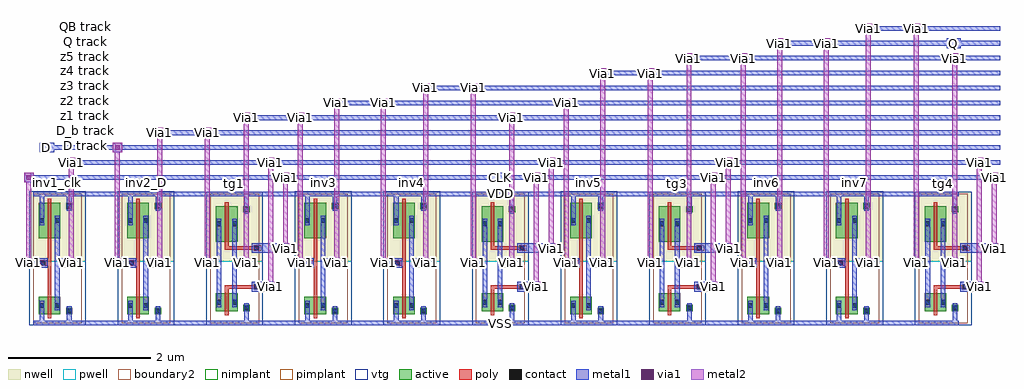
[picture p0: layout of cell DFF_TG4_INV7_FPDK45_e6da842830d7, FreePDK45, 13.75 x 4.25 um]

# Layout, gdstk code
import gdstk
lib = gdstk.Library(unit=1e-6, precision=5e-10)
def R(c, l, rs):  # rectangles x0, y0, x1, y1
    for r in rs: c.add(gdstk.rectangle(r[:2], r[2:], *l))
def A(c, l, x, y, w, h, nx, ny, dx, dy):  # array of equal rectangles
    R(c, l, [(x+i*dx, y+j*dy, x+i*dx+w, y+j*dy+h) for i in range(nx) for j in range(ny)])
active = (1, 0)
pwell = (2, 0)
nwell = (3, 0)
nimplant = (4, 0)
pimplant = (5, 0)
vtg = (6, 0)
poly = (9, 0)
contact = (10, 0)
metal1 = (11, 0)
via1 = (12, 0)
metal2 = (13, 0)
boundary2 = (239, 0)

compose_child__pinv_nw25 = lib.new_cell('COMPOSE_CHILD__PINV_NW250_PW500_L50__PINV_NW250_PW500_L50__TRANSMISSION_GATE_NW250_PW500_L50_contact_8')
R(compose_child__pinv_nw25, active, [(0,0.0225,0.09,0.1125)])
R(compose_child__pinv_nw25, nwell, [(-0.055,-0.0325,0.145,0.1675)])
R(compose_child__pinv_nw25, pimplant, [(0,0.0225,0.09,0.1125)])
R(compose_child__pinv_nw25, contact, [(0.0125,0.035,0.0775,0.1)])
R(compose_child__pinv_nw25, metal1, [(0.0125,0,0.0775,0.135)])
R(compose_child__pinv_nw25, boundary2, [(-0.055,-0.0325,0.145,0.1675)])

c_compose_child__pinv_nw25 = lib.new_cell('COMPOSE_CHILD__PINV_NW250_PW500_L50__PINV_NW250_PW500_L50__PINV_NW250_PW500_L50_pmos_m1_w0_500_sm1_dm1_da_p')
R(c_compose_child__pinv_nw25, active, [(0,0,0.305,0.5)])
R(c_compose_child__pinv_nw25, nwell, [(-0.08,-0.08,0.385,0.58)])
R(c_compose_child__pinv_nw25, pimplant, [(0,0,0.305,0.5)])
R(c_compose_child__pinv_nw25, vtg, [(-0.08,-0.08,0.385,0.58)])
R(c_compose_child__pinv_nw25, poly, [(0.1275,-0.055,0.1775,0.555), (0.1275,-0.055,0.1775,0.555)])
R(c_compose_child__pinv_nw25, metal1, [(0.0125,0.1825,0.0775,0.3175), (0.2275,0.1825,0.2925,0.3175)])
R(c_compose_child__pinv_nw25, boundary2, [(-0.08,-0.08,0.385,0.58)])
c_compose_child__pinv_nw25.add(gdstk.Reference(compose_child__pinv_nw25, (0,0.1825)))
c_compose_child__pinv_nw25.add(gdstk.Reference(compose_child__pinv_nw25, (0.215,0.1825)))

c_compose_child__pinv_nw25_ = lib.new_cell('COMPOSE_CHILD__PINV_NW250_PW500_L50__PINV_NW250_PW500_L50__TRANSMISSION_GATE_NW250_PW500_L50_contact_7')
R(c_compose_child__pinv_nw25_, active, [(0,0.0225,0.09,0.1125)])
R(c_compose_child__pinv_nw25_, pwell, [(-0.055,-0.0325,0.145,0.1675)])
R(c_compose_child__pinv_nw25_, nimplant, [(0,0.0225,0.09,0.1125)])
R(c_compose_child__pinv_nw25_, contact, [(0.0125,0.035,0.0775,0.1)])
R(c_compose_child__pinv_nw25_, metal1, [(0.0125,0,0.0775,0.135)])
R(c_compose_child__pinv_nw25_, boundary2, [(-0.055,-0.0325,0.145,0.1675)])

c_compose_child__pinv_nw25__ = lib.new_cell('COMPOSE_CHILD__PINV_NW250_PW500_L50__PINV_NW250_PW500_L50__PINV_NW250_PW500_L50_nmos_m1_w0_250_sm1_dm1_da_p')
R(c_compose_child__pinv_nw25__, active, [(0,0,0.305,0.25)])
R(c_compose_child__pinv_nw25__, pwell, [(-0.08,-0.08,0.385,0.33)])
R(c_compose_child__pinv_nw25__, nimplant, [(0,0,0.305,0.25)])
R(c_compose_child__pinv_nw25__, vtg, [(-0.08,-0.08,0.385,0.33)])
R(c_compose_child__pinv_nw25__, poly, [(0.1275,-0.055,0.1775,0.305), (0.1275,-0.055,0.1775,0.305)])
R(c_compose_child__pinv_nw25__, metal1, [(0.0125,0.0575,0.0775,0.1925), (0.2275,0.0575,0.2925,0.1925)])
R(c_compose_child__pinv_nw25__, boundary2, [(-0.08,-0.08,0.385,0.33)])
c_compose_child__pinv_nw25__.add(gdstk.Reference(c_compose_child__pinv_nw25_, (0,0.0575)))
c_compose_child__pinv_nw25__.add(gdstk.Reference(c_compose_child__pinv_nw25_, (0.215,0.0575)))

c_compose_child__pinv_nw25___ = lib.new_cell('COMPOSE_CHILD__PINV_NW250_PW500_L50__PINV_NW250_PW500_L50__TRANSMISSION_GATE_NW250_PW500_L50_contact_9')
R(c_compose_child__pinv_nw25___, active, [(0,0.0225,0.09,0.1125)])
R(c_compose_child__pinv_nw25___, nwell, [(-0.055,-0.0325,0.145,0.1675)])
R(c_compose_child__pinv_nw25___, nimplant, [(0,0.0225,0.09,0.1125)])
R(c_compose_child__pinv_nw25___, contact, [(0.0125,0.035,0.0775,0.1)])
R(c_compose_child__pinv_nw25___, metal1, [(0.0125,0,0.0775,0.135)])
R(c_compose_child__pinv_nw25___, boundary2, [(-0.055,-0.0325,0.145,0.1675)])

c_compose_child__pinv_nw25____ = lib.new_cell('COMPOSE_CHILD__PINV_NW250_PW500_L50__PINV_NW250_PW500_L50__TRANSMISSION_GATE_NW250_PW500_L50_contact_10')
R(c_compose_child__pinv_nw25____, active, [(0,0.0225,0.09,0.1125)])
R(c_compose_child__pinv_nw25____, pwell, [(-0.055,-0.0325,0.145,0.1675)])
R(c_compose_child__pinv_nw25____, pimplant, [(0,0.0225,0.09,0.1125)])
R(c_compose_child__pinv_nw25____, contact, [(0.0125,0.035,0.0775,0.1)])
R(c_compose_child__pinv_nw25____, metal1, [(0.0125,0,0.0775,0.135)])
R(c_compose_child__pinv_nw25____, boundary2, [(-0.055,-0.0325,0.145,0.1675)])

c_compose_child__pinv_nw25_____ = lib.new_cell('COMPOSE_CHILD__PINV_NW250_PW500_L50__PINV_NW250_PW500_L50__PINV_NW180_PW270_L50_contact_11')
R(c_compose_child__pinv_nw25_____, poly, [(0.03,0,0.105,0.075)])
R(c_compose_child__pinv_nw25_____, contact, [(0.035,0.005,0.1,0.07)])
R(c_compose_child__pinv_nw25_____, metal1, [(0,0.005,0.135,0.07)])
R(c_compose_child__pinv_nw25_____, boundary2, [(0,0,0.135,0.075)])

c_compose_child__pinv_nw25______ = lib.new_cell('COMPOSE_CHILD__PINV_NW250_PW500_L50__PINV_NW250_PW500_L50__PINV_NW250_PW500_L50_core')
R(c_compose_child__pinv_nw25______, pwell, [(-0.055,-0.0325,0.7425,0.8725)])
R(c_compose_child__pinv_nw25______, nwell, [(-0.055,0.8725,0.7425,1.855)])
R(c_compose_child__pinv_nw25______, vtg, [(-0.055,-0.0325,0.7425,0.8725), (-0.055,0.8725,0.7425,1.855)])
R(c_compose_child__pinv_nw25______, poly, [(0.2075,0.43,0.2575,1.14), (0.14,0.81,0.2075,0.885)])
R(c_compose_child__pinv_nw25______, metal1, [(0,-0.0325,0.6875,0.0325), (0.0925,-0.0325,0.1575,0.1825), (0.4775,0,0.5425,0.17), (0.3075,0.1825,0.3725,1.5125), (0.0725,0.815,0.2075,0.88), (0.34,0.815,0.405,0.88), (0.0925,1.3775,0.1575,1.8525), (0.4775,1.65,0.5425,1.82), (0,1.7875,0.6875,1.8525)])
R(c_compose_child__pinv_nw25______, boundary2, [(0,0,0.6875,1.82), (0,0,0.6875,1.82)])
c_compose_child__pinv_nw25______.add(gdstk.Reference(c_compose_child__pinv_nw25, (0.08,1.195)))
c_compose_child__pinv_nw25______.add(gdstk.Reference(c_compose_child__pinv_nw25__, (0.08,0.125)))
c_compose_child__pinv_nw25______.add(gdstk.Reference(c_compose_child__pinv_nw25___, (0.465,1.5825)))
c_compose_child__pinv_nw25______.add(gdstk.Reference(c_compose_child__pinv_nw25____, (0.465,0.1025)))
c_compose_child__pinv_nw25______.add(gdstk.Reference(c_compose_child__pinv_nw25_____, (0.0725,0.81)))

c_compose_child__pinv_nw25_______ = lib.new_cell('COMPOSE_CHILD__PINV_NW250_PW500_L50__PINV_NW250_PW500_L50__PINV_NW250_PW500_L50')
R(c_compose_child__pinv_nw25_______, metal1, [(0,-0.0325,0.6875,0.0325), (0.0725,0.815,0.2075,0.88), (0.34,0.815,0.405,0.88), (0,1.7875,0.6875,1.8525)])
R(c_compose_child__pinv_nw25_______, boundary2, [(0,0,0.6875,1.82)])
c_compose_child__pinv_nw25_______.add(gdstk.Reference(c_compose_child__pinv_nw25______, (0,0)))

compose_child__transmiss = lib.new_cell('COMPOSE_CHILD__TRANSMISSION_GATE_NW250_PW500_L50__TRANSMISSION_GATE_NW250_PW500_L50__TRANSMISSION_GATE_NW250_PW500_L50_contact_8')
R(compose_child__transmiss, active, [(0,0.0225,0.09,0.1125)])
R(compose_child__transmiss, nwell, [(-0.055,-0.0325,0.145,0.1675)])
R(compose_child__transmiss, pimplant, [(0,0.0225,0.09,0.1125)])
R(compose_child__transmiss, contact, [(0.0125,0.035,0.0775,0.1)])
R(compose_child__transmiss, metal1, [(0.0125,0,0.0775,0.135)])
R(compose_child__transmiss, boundary2, [(-0.055,-0.0325,0.145,0.1675)])

c_compose_child__transmiss = lib.new_cell('COMPOSE_CHILD__TRANSMISSION_GATE_NW250_PW500_L50__TRANSMISSION_GATE_NW250_PW500_L50__TRANSMISSION_GATE_NW250_PW500_L50_pmos_m1_w0_500_sm1_dm1')
R(c_compose_child__transmiss, active, [(0,0,0.305,0.5)])
R(c_compose_child__transmiss, nwell, [(-0.08,-0.08,0.385,0.58)])
R(c_compose_child__transmiss, pimplant, [(0,0,0.305,0.5)])
R(c_compose_child__transmiss, vtg, [(-0.08,-0.08,0.385,0.58)])
R(c_compose_child__transmiss, poly, [(0.1275,-0.055,0.1775,0.555), (0.1275,-0.055,0.1775,0.555)])
R(c_compose_child__transmiss, metal1, [(0.0125,0.1825,0.0775,0.3175), (0.2275,0.1825,0.2925,0.3175)])
R(c_compose_child__transmiss, boundary2, [(-0.08,-0.08,0.385,0.58)])
c_compose_child__transmiss.add(gdstk.Reference(compose_child__transmiss, (0,0.1825)))
c_compose_child__transmiss.add(gdstk.Reference(compose_child__transmiss, (0.215,0.1825)))

c_compose_child__transmiss_ = lib.new_cell('COMPOSE_CHILD__TRANSMISSION_GATE_NW250_PW500_L50__TRANSMISSION_GATE_NW250_PW500_L50__TRANSMISSION_GATE_NW250_PW500_L50_contact_7')
R(c_compose_child__transmiss_, active, [(0,0.0225,0.09,0.1125)])
R(c_compose_child__transmiss_, pwell, [(-0.055,-0.0325,0.145,0.1675)])
R(c_compose_child__transmiss_, nimplant, [(0,0.0225,0.09,0.1125)])
R(c_compose_child__transmiss_, contact, [(0.0125,0.035,0.0775,0.1)])
R(c_compose_child__transmiss_, metal1, [(0.0125,0,0.0775,0.135)])
R(c_compose_child__transmiss_, boundary2, [(-0.055,-0.0325,0.145,0.1675)])

c_compose_child__transmiss__ = lib.new_cell('COMPOSE_CHILD__TRANSMISSION_GATE_NW250_PW500_L50__TRANSMISSION_GATE_NW250_PW500_L50__TRANSMISSION_GATE_NW250_PW500_L50_nmos_m1_w0_250_sm1_dm1')
R(c_compose_child__transmiss__, active, [(0,0,0.305,0.25)])
R(c_compose_child__transmiss__, pwell, [(-0.08,-0.08,0.385,0.33)])
R(c_compose_child__transmiss__, nimplant, [(0,0,0.305,0.25)])
R(c_compose_child__transmiss__, vtg, [(-0.08,-0.08,0.385,0.33)])
R(c_compose_child__transmiss__, poly, [(0.1275,-0.055,0.1775,0.305), (0.1275,-0.055,0.1775,0.305)])
R(c_compose_child__transmiss__, metal1, [(0.0125,0.0575,0.0775,0.1925), (0.2275,0.0575,0.2925,0.1925)])
R(c_compose_child__transmiss__, boundary2, [(-0.08,-0.08,0.385,0.33)])
c_compose_child__transmiss__.add(gdstk.Reference(c_compose_child__transmiss_, (0,0.0575)))
c_compose_child__transmiss__.add(gdstk.Reference(c_compose_child__transmiss_, (0.215,0.0575)))

c_compose_child__transmiss___ = lib.new_cell('COMPOSE_CHILD__TRANSMISSION_GATE_NW250_PW500_L50__TRANSMISSION_GATE_NW250_PW500_L50__TRANSMISSION_GATE_NW250_PW500_L50_contact_9')
R(c_compose_child__transmiss___, active, [(0,0.0225,0.09,0.1125)])
R(c_compose_child__transmiss___, nwell, [(-0.055,-0.0325,0.145,0.1675)])
R(c_compose_child__transmiss___, nimplant, [(0,0.0225,0.09,0.1125)])
R(c_compose_child__transmiss___, contact, [(0.0125,0.035,0.0775,0.1)])
R(c_compose_child__transmiss___, metal1, [(0.0125,0,0.0775,0.135)])
R(c_compose_child__transmiss___, boundary2, [(-0.055,-0.0325,0.145,0.1675)])

c_compose_child__transmiss____ = lib.new_cell('COMPOSE_CHILD__TRANSMISSION_GATE_NW250_PW500_L50__TRANSMISSION_GATE_NW250_PW500_L50__TRANSMISSION_GATE_NW250_PW500_L50_contact_10')
R(c_compose_child__transmiss____, active, [(0,0.0225,0.09,0.1125)])
R(c_compose_child__transmiss____, pwell, [(-0.055,-0.0325,0.145,0.1675)])
R(c_compose_child__transmiss____, pimplant, [(0,0.0225,0.09,0.1125)])
R(c_compose_child__transmiss____, contact, [(0.0125,0.035,0.0775,0.1)])
R(c_compose_child__transmiss____, metal1, [(0.0125,0,0.0775,0.135)])
R(c_compose_child__transmiss____, boundary2, [(-0.055,-0.0325,0.145,0.1675)])

c_compose_child__transmiss_____ = lib.new_cell('COMPOSE_CHILD__TRANSMISSION_GATE_NW250_PW500_L50__TRANSMISSION_GATE_NW250_PW500_L50__TRANSMISSION_GATE_NW250_PW500_L50_contact_11')
R(c_compose_child__transmiss_____, poly, [(0.03,0,0.105,0.075)])
R(c_compose_child__transmiss_____, contact, [(0.035,0.005,0.1,0.07)])
R(c_compose_child__transmiss_____, metal1, [(0,0.005,0.135,0.07)])
R(c_compose_child__transmiss_____, boundary2, [(0,0,0.135,0.075)])

c_compose_child__transmiss______ = lib.new_cell('COMPOSE_CHILD__TRANSMISSION_GATE_NW250_PW500_L50__TRANSMISSION_GATE_NW250_PW500_L50__TRANSMISSION_GATE_NW250_PW500_L50_core')
R(c_compose_child__transmiss______, pwell, [(-0.055,-0.0325,0.7425,0.8725)])
R(c_compose_child__transmiss______, nwell, [(-0.055,0.8725,0.7425,1.8525)])
R(c_compose_child__transmiss______, vtg, [(-0.055,-0.0325,0.7425,0.8725), (-0.055,0.8725,0.7425,1.8525)])
R(c_compose_child__transmiss______, poly, [(0.2075,0.295,0.2575,0.5125), (0.2075,0.4875,0.2575,0.5375), (0.2325,0.4875,0.65,0.5375), (0.2075,1.0325,0.2575,1.0825), (0.2325,1.0325,0.65,1.0825), (0.2075,1.0575,0.2575,1.4)])
R(c_compose_child__transmiss______, metal1, [(0,-0.0325,0.56,0.0325), (0.4775,0,0.5425,0.215), (0.0925,0.2275,0.1575,1.4675), (0.3075,0.2275,0.3725,1.4675), (0.5825,0.48,0.7175,0.545), (0.5825,1.025,0.7175,1.09), (0.4775,1.605,0.5425,1.82), (0,1.7875,0.56,1.8525)])
R(c_compose_child__transmiss______, boundary2, [(0,0,0.6875,1.82), (0,0,0.6875,1.82)])
c_compose_child__transmiss______.add(gdstk.Reference(c_compose_child__transmiss, (0.08,1.15)))
c_compose_child__transmiss______.add(gdstk.Reference(c_compose_child__transmiss__, (0.08,0.17)))
c_compose_child__transmiss______.add(gdstk.Reference(c_compose_child__transmiss___, (0.465,1.5375)))
c_compose_child__transmiss______.add(gdstk.Reference(c_compose_child__transmiss____, (0.465,0.1475)))
c_compose_child__transmiss______.add(gdstk.Reference(c_compose_child__transmiss_____, (0.5825,1.02)))
c_compose_child__transmiss______.add(gdstk.Reference(c_compose_child__transmiss_____, (0.5825,0.475)))

c_compose_child__transmiss_______ = lib.new_cell('COMPOSE_CHILD__TRANSMISSION_GATE_NW250_PW500_L50__TRANSMISSION_GATE_NW250_PW500_L50__TRANSMISSION_GATE_NW250_PW500_L50')
R(c_compose_child__transmiss_______, metal1, [(0,-0.0325,0.56,0.0325), (0.0925,0.2275,0.1575,1.4675), (0.3075,0.2275,0.3725,1.4675), (0.5825,0.48,0.7175,0.545), (0.5825,1.025,0.7175,1.09), (0,1.7875,0.56,1.8525)])
R(c_compose_child__transmiss_______, boundary2, [(0,0,0.6875,1.82)])
c_compose_child__transmiss_______.add(gdstk.Reference(c_compose_child__transmiss______, (0,0)))

dff_tg4_inv7_fpdk45_e6da = lib.new_cell('DFF_TG4_INV7_FPDK45_e6da842830d7')
A(dff_tg4_inv7_fpdk45_e6da, metal1, 5.7325, 0, 0.56, 0.065, 3, 2, 2.495, 1.82)
R(dff_tg4_inv7_fpdk45_e6da, metal1, [(0.7425,0,1.3025,0.065), (1.99,0,2.55,0.065), (3.11,0,3.7975,0.065), (4.485,0,5.045,0.065), (6.8525,0,7.54,0.065), (9.3475,0,10.035,0.065), (11.97,0,12.53,0.065), (3.1325,0.4775,3.4,0.6125), (3.3325,0.4775,3.4675,0.6125), (6.875,0.4775,7.1425,0.6125), (7.075,0.4775,7.21,0.6125), (9.37,0.4775,9.6375,0.6125), (9.57,0.4775,9.705,0.6125), (13.1125,0.4775,13.38,0.6125), (13.3125,0.4775,13.4475,0.6125), (-0.0725,0.8125,0.0625,0.9475), (-0.005,0.8125,0.2625,0.9475), (0.395,0.8125,0.5925,0.9475), (0.525,0.8125,0.66,0.9475), (1.175,0.8125,1.31,0.9475), (1.2425,0.8125,1.51,0.9475), (1.6425,0.8125,1.84,0.9475), (1.7725,0.8125,1.9075,0.9475), (2.4425,0.8125,2.5775,0.9475), (2.51,0.8125,2.7075,0.9475), (2.8575,0.8125,3.055,0.9475), (2.9875,0.8125,3.1225,0.9475), (3.7525,0.8125,3.8875,0.9475), (3.82,0.8125,4.005,0.9475), (4.1375,0.8125,4.335,0.9475), (4.2675,0.8125,4.4025,0.9475), (4.9175,0.8125,5.0525,0.9475), (4.985,0.8125,5.2525,0.9475), (5.385,0.8125,5.5825,0.9475), (5.515,0.8125,5.65,0.9475), (6.185,0.8125,6.32,0.9475), (6.2525,0.8125,6.45,0.9475), (6.6,0.8125,6.7975,0.9475), (6.73,0.8125,6.865,0.9475), (7.495,0.8125,7.63,0.9475), (7.5625,0.8125,7.7475,0.9475), (7.88,0.8125,8.0775,0.9475), (8.01,0.8125,8.145,0.9475), (8.68,0.8125,8.815,0.9475), (8.7475,0.8125,8.945,0.9475), (9.095,0.8125,9.2925,0.9475), (9.225,0.8125,9.36,0.9475), (9.99,0.8125,10.125,0.9475), (10.0575,0.8125,10.2425,0.9475), (10.375,0.8125,10.5725,0.9475), (10.505,0.8125,10.64,0.9475), (11.155,0.8125,11.29,0.9475), (11.2225,0.8125,11.49,0.9475), (11.6225,0.8125,11.82,0.9475), (11.7525,0.8125,11.8875,0.9475), (12.4225,0.8125,12.5575,0.9475), (12.49,0.8125,12.6875,0.9475), (12.8375,0.8125,13.035,0.9475), (12.9675,0.8125,13.1025,0.9475), (3.1325,1.0225,3.61,1.1575), (3.5425,1.0225,3.6775,1.1575), (6.875,1.0225,7.3525,1.1575), (7.285,1.0225,7.42,1.1575), (9.37,1.0225,9.8475,1.1575), (9.78,1.0225,9.915,1.1575), (13.1125,1.0225,13.59,1.1575), (13.5225,1.0225,13.6575,1.1575), (0.7425,1.82,1.3025,1.885), (1.99,1.82,2.55,1.885), (3.11,1.82,3.7975,1.885), (4.485,1.82,5.045,1.885), (6.8525,1.82,7.54,1.885), (9.3475,1.82,10.035,1.885), (11.97,1.82,12.53,1.885), (-0.0725,2.0175,0.0625,2.1525), (3.5425,2.0175,3.6775,2.1525), (6.535,2.0175,6.735,2.1525), (7.075,2.0175,7.21,2.1525), (9.57,2.0175,9.705,2.1525), (13.5225,2.0175,13.6575,2.1525), (-0.005,2.0525,13.6725,2.1175), (0.525,2.2275,0.66,2.3625), (3.3325,2.2275,3.4675,2.3625), (7.285,2.2275,7.42,2.3625), (9.78,2.2275,9.915,2.3625), (13.3125,2.2275,13.4475,2.3625), (0.5925,2.2625,13.6725,2.3275), (0.15,2.4375,0.35,2.5725), (1.175,2.4375,1.31,2.5725), (0.15,2.4725,13.6725,2.5375), (1.7725,2.6475,1.9075,2.7825), (2.4425,2.6475,2.5775,2.7825), (1.84,2.6825,13.6725,2.7475), (2.9875,2.8575,3.1225,2.9925), (3.7525,2.8575,3.8875,2.9925), (6.73,2.8575,6.865,2.9925), (3.055,2.8925,13.6725,2.9575), (4.2675,3.0675,4.4025,3.2025), (4.9175,3.0675,5.0525,3.2025), (7.495,3.0675,7.63,3.2025), (4.335,3.1025,13.6725,3.1675), (5.515,3.2775,5.65,3.4125), (6.185,3.2775,6.32,3.4125), (5.5825,3.3125,13.6725,3.3775), (8.01,3.4875,8.145,3.6225), (8.68,3.4875,8.815,3.6225), (8.0775,3.5225,13.6725,3.5875), (9.225,3.6975,9.36,3.8325), (9.99,3.6975,10.125,3.8325), (12.9675,3.6975,13.1025,3.8325), (9.2925,3.7325,13.6725,3.7975), (10.505,3.9075,10.64,4.0425), (11.155,3.9075,11.29,4.0425), (12.9225,3.9075,13.1225,4.0425), (10.5725,3.9425,13.6725,4.0075), (11.7525,4.1175,11.8875,4.2525), (12.4225,4.1175,12.5575,4.2525), (11.82,4.1525,13.6725,4.2175)])
R(dff_tg4_inv7_fpdk45_e6da, via1, [(3.3675,0.5125,3.4325,0.5775), (7.11,0.5125,7.175,0.5775), (9.605,0.5125,9.67,0.5775), (13.3475,0.5125,13.4125,0.5775), (-0.0375,0.8475,0.0275,0.9125), (0.56,0.8475,0.625,0.9125), (1.21,0.8475,1.275,0.9125), (1.8075,0.8475,1.8725,0.9125), (2.4775,0.8475,2.5425,0.9125), (3.0225,0.8475,3.0875,0.9125), (3.7875,0.8475,3.8525,0.9125), (4.3025,0.8475,4.3675,0.9125), (4.9525,0.8475,5.0175,0.9125), (5.55,0.8475,5.615,0.9125), (6.22,0.8475,6.285,0.9125), (6.765,0.8475,6.83,0.9125), (7.53,0.8475,7.595,0.9125), (8.045,0.8475,8.11,0.9125), (8.715,0.8475,8.78,0.9125), (9.26,0.8475,9.325,0.9125), (10.025,0.8475,10.09,0.9125), (10.54,0.8475,10.605,0.9125), (11.19,0.8475,11.255,0.9125), (11.7875,0.8475,11.8525,0.9125), (12.4575,0.8475,12.5225,0.9125), (13.0025,0.8475,13.0675,0.9125), (3.5775,1.0575,3.6425,1.1225), (7.32,1.0575,7.385,1.1225), (9.815,1.0575,9.88,1.1225), (13.5575,1.0575,13.6225,1.1225), (-0.0375,2.0525,0.0275,2.1175), (3.5775,2.0525,3.6425,2.1175), (7.11,2.0525,7.175,2.1175), (9.605,2.0525,9.67,2.1175), (13.5575,2.0525,13.6225,2.1175), (0.56,2.2625,0.625,2.3275), (3.3675,2.2625,3.4325,2.3275), (7.32,2.2625,7.385,2.3275), (9.815,2.2625,9.88,2.3275), (13.3475,2.2625,13.4125,2.3275), (1.21,2.4725,1.275,2.5375), (1.8075,2.6825,1.8725,2.7475), (2.4775,2.6825,2.5425,2.7475), (3.0225,2.8925,3.0875,2.9575), (3.7875,2.8925,3.8525,2.9575), (6.765,2.8925,6.83,2.9575), (4.3025,3.1025,4.3675,3.1675), (4.9525,3.1025,5.0175,3.1675), (7.53,3.1025,7.595,3.1675), (5.55,3.3125,5.615,3.3775), (6.22,3.3125,6.285,3.3775), (8.045,3.5225,8.11,3.5875), (8.715,3.5225,8.78,3.5875), (9.26,3.7325,9.325,3.7975), (10.025,3.7325,10.09,3.7975), (13.0025,3.7325,13.0675,3.7975), (10.54,3.9425,10.605,4.0075), (11.19,3.9425,11.255,4.0075), (11.7875,4.1525,11.8525,4.2175), (12.4575,4.1525,12.5225,4.2175)])
R(dff_tg4_inv7_fpdk45_e6da, metal2, [(3.3325,0.4775,3.4675,0.6125), (7.075,0.4775,7.21,0.6125), (9.57,0.4775,9.705,0.6125), (13.3125,0.4775,13.4475,0.6125), (3.365,0.6125,3.435,2.2275), (7.1075,0.6125,7.1775,2.0175), (9.6025,0.6125,9.6725,2.0175), (13.345,0.6125,13.415,2.2275), (-0.0725,0.8125,0.0625,0.9475), (0.525,0.8125,0.66,0.9475), (1.175,0.8125,1.31,0.9475), (1.7725,0.8125,1.9075,0.9475), (2.4425,0.8125,2.5775,0.9475), (2.9875,0.8125,3.1225,0.9475), (3.7525,0.8125,3.8875,0.9475), (4.2675,0.8125,4.4025,0.9475), (4.9175,0.8125,5.0525,0.9475), (5.515,0.8125,5.65,0.9475), (6.185,0.8125,6.32,0.9475), (6.73,0.8125,6.865,0.9475), (7.495,0.8125,7.63,0.9475), (8.01,0.8125,8.145,0.9475), (8.68,0.8125,8.815,0.9475), (9.225,0.8125,9.36,0.9475), (9.99,0.8125,10.125,0.9475), (10.505,0.8125,10.64,0.9475), (11.155,0.8125,11.29,0.9475), (11.7525,0.8125,11.8875,0.9475), (12.4225,0.8125,12.5575,0.9475), (12.9675,0.8125,13.1025,0.9475), (-0.04,0.9475,0.03,2.0175), (0.5575,0.9475,0.6275,2.2275), (1.2075,0.9475,1.2775,2.4375), (1.805,0.9475,1.875,2.6475), (2.475,0.9475,2.545,2.6475), (3.02,0.9475,3.09,2.8575), (3.785,0.9475,3.855,2.8575), (4.3,0.9475,4.37,3.0675), (4.95,0.9475,5.02,3.0675), (5.5475,0.9475,5.6175,3.2775), (6.2175,0.9475,6.2875,3.2775), (6.7625,0.9475,6.8325,2.8575), (7.5275,0.9475,7.5975,3.0675), (8.0425,0.9475,8.1125,3.4875), (8.7125,0.9475,8.7825,3.4875), (9.2575,0.9475,9.3275,3.6975), (10.0225,0.9475,10.0925,3.6975), (10.5375,0.9475,10.6075,3.9075), (11.1875,0.9475,11.2575,3.9075), (11.785,0.9475,11.855,4.1175), (12.455,0.9475,12.525,4.1175), (13,0.9475,13.07,3.6975), (3.5425,1.0225,3.6775,1.1575), (7.285,1.0225,7.42,1.1575), (9.78,1.0225,9.915,1.1575), (13.5225,1.0225,13.6575,1.1575), (3.575,1.1575,3.645,2.0175), (7.3175,1.1575,7.3875,2.2275), (9.8125,1.1575,9.8825,2.2275), (13.555,1.1575,13.625,2.0175), (-0.0725,2.0175,0.0625,2.1525), (3.5425,2.0175,3.6775,2.1525), (7.075,2.0175,7.21,2.1525), (9.57,2.0175,9.705,2.1525), (13.5225,2.0175,13.6575,2.1525), (0.525,2.2275,0.66,2.3625), (3.3325,2.2275,3.4675,2.3625), (7.285,2.2275,7.42,2.3625), (9.78,2.2275,9.915,2.3625), (13.3125,2.2275,13.4475,2.3625), (1.175,2.4375,1.31,2.5725), (1.7725,2.6475,1.9075,2.7825), (2.4425,2.6475,2.5775,2.7825), (2.9875,2.8575,3.1225,2.9925), (3.7525,2.8575,3.8875,2.9925), (6.73,2.8575,6.865,2.9925), (4.2675,3.0675,4.4025,3.2025), (4.9175,3.0675,5.0525,3.2025), (7.495,3.0675,7.63,3.2025), (5.515,3.2775,5.65,3.4125), (6.185,3.2775,6.32,3.4125), (8.01,3.4875,8.145,3.6225), (8.68,3.4875,8.815,3.6225), (9.225,3.6975,9.36,3.8325), (9.99,3.6975,10.125,3.8325), (12.9675,3.6975,13.1025,3.8325), (10.505,3.9075,10.64,4.0425), (11.155,3.9075,11.29,4.0425), (11.7525,4.1175,11.8875,4.2525), (12.4225,4.1175,12.5575,4.2525)])
dff_tg4_inv7_fpdk45_e6da.add(gdstk.Reference(c_compose_child__pinv_nw25_______, (0.055,0.0325)))
dff_tg4_inv7_fpdk45_e6da.add(gdstk.Reference(c_compose_child__pinv_nw25_______, (1.3025,0.0325)))
dff_tg4_inv7_fpdk45_e6da.add(gdstk.Reference(c_compose_child__transmiss_______, (2.55,0.0325)))
dff_tg4_inv7_fpdk45_e6da.add(gdstk.Reference(c_compose_child__pinv_nw25_______, (3.7975,0.0325)))
dff_tg4_inv7_fpdk45_e6da.add(gdstk.Reference(c_compose_child__pinv_nw25_______, (5.045,0.0325)))
dff_tg4_inv7_fpdk45_e6da.add(gdstk.Reference(c_compose_child__transmiss_______, (6.2925,0.0325)))
dff_tg4_inv7_fpdk45_e6da.add(gdstk.Reference(c_compose_child__pinv_nw25_______, (7.54,0.0325)))
dff_tg4_inv7_fpdk45_e6da.add(gdstk.Reference(c_compose_child__transmiss_______, (8.7875,0.0325)))
dff_tg4_inv7_fpdk45_e6da.add(gdstk.Reference(c_compose_child__pinv_nw25_______, (10.035,0.0325)))
dff_tg4_inv7_fpdk45_e6da.add(gdstk.Reference(c_compose_child__pinv_nw25_______, (11.2825,0.0325)))
dff_tg4_inv7_fpdk45_e6da.add(gdstk.Reference(c_compose_child__transmiss_______, (12.53,0.0325)))
dff_tg4_inv7_fpdk45_e6da.add(gdstk.Label('CLK', (6.635,2.085), layer=11, texttype=0))
dff_tg4_inv7_fpdk45_e6da.add(gdstk.Label('D', (0.25,2.505), layer=11, texttype=0))
dff_tg4_inv7_fpdk45_e6da.add(gdstk.Label('Q', (13.0225,3.975), layer=11, texttype=0))
dff_tg4_inv7_fpdk45_e6da.add(gdstk.Label('VDD', (6.6365,1.8525), layer=11, texttype=0))
dff_tg4_inv7_fpdk45_e6da.add(gdstk.Label('VSS', (6.6365,0.0325), layer=11, texttype=0))
dff_tg4_inv7_fpdk45_e6da.add(gdstk.Label('inv1_clk', (0.3985,2.0075), layer=239, texttype=0))
dff_tg4_inv7_fpdk45_e6da.add(gdstk.Label('inv2_D', (1.646,2.0075), layer=239, texttype=0))
dff_tg4_inv7_fpdk45_e6da.add(gdstk.Label('tg1', (2.8935,2.005), layer=239, texttype=0))
dff_tg4_inv7_fpdk45_e6da.add(gdstk.Label('inv3', (4.1415,2.0075), layer=239, texttype=0))
dff_tg4_inv7_fpdk45_e6da.add(gdstk.Label('inv4', (5.3885,2.0075), layer=239, texttype=0))
dff_tg4_inv7_fpdk45_e6da.add(gdstk.Label('tg2', (6.6365,2.005), layer=239, texttype=0))
dff_tg4_inv7_fpdk45_e6da.add(gdstk.Label('inv5', (7.884,2.0075), layer=239, texttype=0))
dff_tg4_inv7_fpdk45_e6da.add(gdstk.Label('tg3', (9.131,2.005), layer=239, texttype=0))
dff_tg4_inv7_fpdk45_e6da.add(gdstk.Label('inv6', (10.3785,2.0075), layer=239, texttype=0))
dff_tg4_inv7_fpdk45_e6da.add(gdstk.Label('inv7', (11.626,2.0075), layer=239, texttype=0))
dff_tg4_inv7_fpdk45_e6da.add(gdstk.Label('tg4', (12.874,2.005), layer=239, texttype=0))
dff_tg4_inv7_fpdk45_e6da.add(gdstk.Label('CLK track', (0.8,2.115), layer=239, texttype=0))
dff_tg4_inv7_fpdk45_e6da.add(gdstk.Label('CLKB track', (0.8,2.325), layer=239, texttype=0))
dff_tg4_inv7_fpdk45_e6da.add(gdstk.Label('D track', (0.8,2.535), layer=239, texttype=0))
dff_tg4_inv7_fpdk45_e6da.add(gdstk.Label('D_b track', (0.8,2.745), layer=239, texttype=0))
dff_tg4_inv7_fpdk45_e6da.add(gdstk.Label('z1 track', (0.8,2.955), layer=239, texttype=0))
dff_tg4_inv7_fpdk45_e6da.add(gdstk.Label('z2 track', (0.8,3.165), layer=239, texttype=0))
dff_tg4_inv7_fpdk45_e6da.add(gdstk.Label('z3 track', (0.8,3.375), layer=239, texttype=0))
dff_tg4_inv7_fpdk45_e6da.add(gdstk.Label('z4 track', (0.8,3.585), layer=239, texttype=0))
dff_tg4_inv7_fpdk45_e6da.add(gdstk.Label('z5 track', (0.8,3.795), layer=239, texttype=0))
dff_tg4_inv7_fpdk45_e6da.add(gdstk.Label('Q track', (0.8,4.005), layer=239, texttype=0))
dff_tg4_inv7_fpdk45_e6da.add(gdstk.Label('QB track', (0.8,4.215), layer=239, texttype=0))
dff_tg4_inv7_fpdk45_e6da.add(gdstk.Label('Via1', (-0.005,0.88), layer=239, texttype=0))
dff_tg4_inv7_fpdk45_e6da.add(gdstk.Label('Via1', (-0.005,2.085), layer=239, texttype=0))
dff_tg4_inv7_fpdk45_e6da.add(gdstk.Label('Via1', (3.61,1.09), layer=239, texttype=0))
dff_tg4_inv7_fpdk45_e6da.add(gdstk.Label('Via1', (3.61,2.085), layer=239, texttype=0))
dff_tg4_inv7_fpdk45_e6da.add(gdstk.Label('Via1', (7.1425,0.545), layer=239, texttype=0))
dff_tg4_inv7_fpdk45_e6da.add(gdstk.Label('Via1', (7.1425,2.085), layer=239, texttype=0))
dff_tg4_inv7_fpdk45_e6da.add(gdstk.Label('Via1', (9.6375,0.545), layer=239, texttype=0))
dff_tg4_inv7_fpdk45_e6da.add(gdstk.Label('Via1', (9.6375,2.085), layer=239, texttype=0))
dff_tg4_inv7_fpdk45_e6da.add(gdstk.Label('Via1', (13.59,1.09), layer=239, texttype=0))
dff_tg4_inv7_fpdk45_e6da.add(gdstk.Label('Via1', (13.59,2.085), layer=239, texttype=0))
dff_tg4_inv7_fpdk45_e6da.add(gdstk.Label('Via1', (0.5925,0.88), layer=239, texttype=0))
dff_tg4_inv7_fpdk45_e6da.add(gdstk.Label('Via1', (0.5925,2.295), layer=239, texttype=0))
dff_tg4_inv7_fpdk45_e6da.add(gdstk.Label('Via1', (3.4,0.545), layer=239, texttype=0))
dff_tg4_inv7_fpdk45_e6da.add(gdstk.Label('Via1', (3.4,2.295), layer=239, texttype=0))
dff_tg4_inv7_fpdk45_e6da.add(gdstk.Label('Via1', (7.3525,1.09), layer=239, texttype=0))
dff_tg4_inv7_fpdk45_e6da.add(gdstk.Label('Via1', (7.3525,2.295), layer=239, texttype=0))
dff_tg4_inv7_fpdk45_e6da.add(gdstk.Label('Via1', (9.8475,1.09), layer=239, texttype=0))
dff_tg4_inv7_fpdk45_e6da.add(gdstk.Label('Via1', (9.8475,2.295), layer=239, texttype=0))
dff_tg4_inv7_fpdk45_e6da.add(gdstk.Label('Via1', (13.38,0.545), layer=239, texttype=0))
dff_tg4_inv7_fpdk45_e6da.add(gdstk.Label('Via1', (13.38,2.295), layer=239, texttype=0))
dff_tg4_inv7_fpdk45_e6da.add(gdstk.Label('Via1', (1.2425,0.88), layer=239, texttype=0))
dff_tg4_inv7_fpdk45_e6da.add(gdstk.Label('Via1', (1.2425,2.505), layer=239, texttype=0))
dff_tg4_inv7_fpdk45_e6da.add(gdstk.Label('Via1', (1.84,0.88), layer=239, texttype=0))
dff_tg4_inv7_fpdk45_e6da.add(gdstk.Label('Via1', (1.84,2.715), layer=239, texttype=0))
dff_tg4_inv7_fpdk45_e6da.add(gdstk.Label('Via1', (2.51,0.88), layer=239, texttype=0))
dff_tg4_inv7_fpdk45_e6da.add(gdstk.Label('Via1', (2.51,2.715), layer=239, texttype=0))
dff_tg4_inv7_fpdk45_e6da.add(gdstk.Label('Via1', (3.055,0.88), layer=239, texttype=0))
dff_tg4_inv7_fpdk45_e6da.add(gdstk.Label('Via1', (3.055,2.925), layer=239, texttype=0))
dff_tg4_inv7_fpdk45_e6da.add(gdstk.Label('Via1', (3.82,0.88), layer=239, texttype=0))
dff_tg4_inv7_fpdk45_e6da.add(gdstk.Label('Via1', (3.82,2.925), layer=239, texttype=0))
dff_tg4_inv7_fpdk45_e6da.add(gdstk.Label('Via1', (6.7975,0.88), layer=239, texttype=0))
dff_tg4_inv7_fpdk45_e6da.add(gdstk.Label('Via1', (6.7975,2.925), layer=239, texttype=0))
dff_tg4_inv7_fpdk45_e6da.add(gdstk.Label('Via1', (4.335,0.88), layer=239, texttype=0))
dff_tg4_inv7_fpdk45_e6da.add(gdstk.Label('Via1', (4.335,3.135), layer=239, texttype=0))
dff_tg4_inv7_fpdk45_e6da.add(gdstk.Label('Via1', (4.985,0.88), layer=239, texttype=0))
dff_tg4_inv7_fpdk45_e6da.add(gdstk.Label('Via1', (4.985,3.135), layer=239, texttype=0))
dff_tg4_inv7_fpdk45_e6da.add(gdstk.Label('Via1', (7.5625,0.88), layer=239, texttype=0))
dff_tg4_inv7_fpdk45_e6da.add(gdstk.Label('Via1', (7.5625,3.135), layer=239, texttype=0))
dff_tg4_inv7_fpdk45_e6da.add(gdstk.Label('Via1', (5.5825,0.88), layer=239, texttype=0))
dff_tg4_inv7_fpdk45_e6da.add(gdstk.Label('Via1', (5.5825,3.345), layer=239, texttype=0))
dff_tg4_inv7_fpdk45_e6da.add(gdstk.Label('Via1', (6.2525,0.88), layer=239, texttype=0))
dff_tg4_inv7_fpdk45_e6da.add(gdstk.Label('Via1', (6.2525,3.345), layer=239, texttype=0))
dff_tg4_inv7_fpdk45_e6da.add(gdstk.Label('Via1', (8.0775,0.88), layer=239, texttype=0))
dff_tg4_inv7_fpdk45_e6da.add(gdstk.Label('Via1', (8.0775,3.555), layer=239, texttype=0))
dff_tg4_inv7_fpdk45_e6da.add(gdstk.Label('Via1', (8.7475,0.88), layer=239, texttype=0))
dff_tg4_inv7_fpdk45_e6da.add(gdstk.Label('Via1', (8.7475,3.555), layer=239, texttype=0))
dff_tg4_inv7_fpdk45_e6da.add(gdstk.Label('Via1', (9.2925,0.88), layer=239, texttype=0))
dff_tg4_inv7_fpdk45_e6da.add(gdstk.Label('Via1', (9.2925,3.765), layer=239, texttype=0))
dff_tg4_inv7_fpdk45_e6da.add(gdstk.Label('Via1', (10.0575,0.88), layer=239, texttype=0))
dff_tg4_inv7_fpdk45_e6da.add(gdstk.Label('Via1', (10.0575,3.765), layer=239, texttype=0))
dff_tg4_inv7_fpdk45_e6da.add(gdstk.Label('Via1', (13.035,0.88), layer=239, texttype=0))
dff_tg4_inv7_fpdk45_e6da.add(gdstk.Label('Via1', (13.035,3.765), layer=239, texttype=0))
dff_tg4_inv7_fpdk45_e6da.add(gdstk.Label('Via1', (10.5725,0.88), layer=239, texttype=0))
dff_tg4_inv7_fpdk45_e6da.add(gdstk.Label('Via1', (10.5725,3.975), layer=239, texttype=0))
dff_tg4_inv7_fpdk45_e6da.add(gdstk.Label('Via1', (11.2225,0.88), layer=239, texttype=0))
dff_tg4_inv7_fpdk45_e6da.add(gdstk.Label('Via1', (11.2225,3.975), layer=239, texttype=0))
dff_tg4_inv7_fpdk45_e6da.add(gdstk.Label('Via1', (11.82,0.88), layer=239, texttype=0))
dff_tg4_inv7_fpdk45_e6da.add(gdstk.Label('Via1', (11.82,4.185), layer=239, texttype=0))
dff_tg4_inv7_fpdk45_e6da.add(gdstk.Label('Via1', (12.49,0.88), layer=239, texttype=0))
dff_tg4_inv7_fpdk45_e6da.add(gdstk.Label('Via1', (12.49,4.185), layer=239, texttype=0))

lib.write_gds('DFF_TG4_INV7_FPDK45_e6da842830d7.gds')
